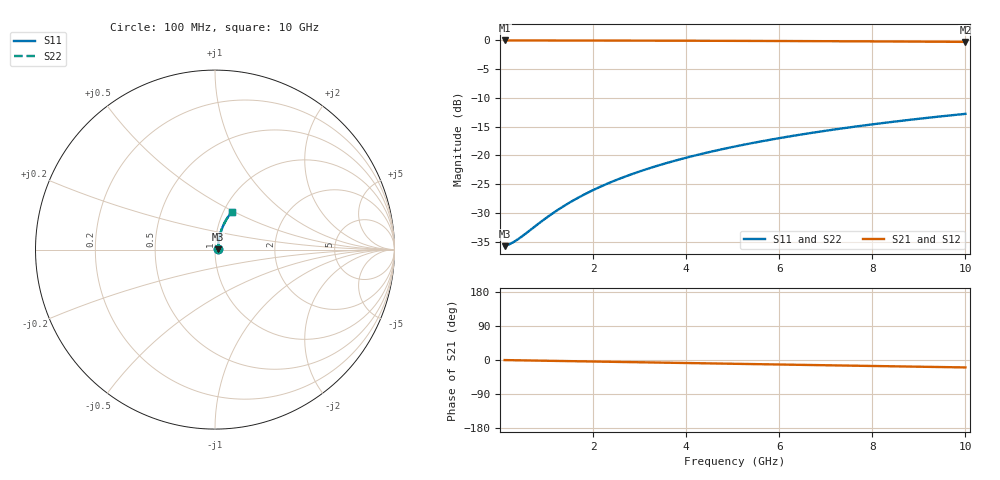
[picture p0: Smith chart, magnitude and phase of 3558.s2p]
# Hz S RI R 50.00
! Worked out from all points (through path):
!   100 points, 100 MHz to 10 GHz, reference 50 ohm
!   highest |S21| = -0.14 dB at 100 MHz (marker M1); lowest = -0.4 dB at 10 GHz (marker M2)
!   group delay of S21, straight-line fit = 5.45 ps
!   lowest |S11| = -35.7 dB at 100 MHz (marker M3), VSWR 1.03, Z = 51.7 + j0.239 ohm
!   |S11| at or under -10 dB: start of sweep to end of sweep
!   |S22| runs from -35.7 to -12.8 dB; largest |S21 - S12| = 0
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1e8  0.0163 0.00231  0.9837 -0.00342  0.9837 -0.00342  0.0163 0.00231
2e8  0.0164 0.00462  0.9835 -0.00685  0.9835 -0.00685  0.0164 0.00462
3e8  0.0166 0.00693  0.9834 -0.0103  0.9834 -0.0103  0.0166 0.00693
5e8  0.0168 0.0115  0.9832 -0.0171  0.9832 -0.0171  0.0168 0.0115
9e8  0.0174 0.0208  0.9825 -0.0308  0.9825 -0.0308  0.0174 0.0208
1.2e9  0.018 0.0276  0.9819 -0.041  0.9819 -0.041  0.018 0.0276
1.5e9  0.0187 0.0345  0.9811 -0.0512  0.9811 -0.0512  0.0187 0.0345
1.8e9  0.0196 0.0414  0.9802 -0.0614  0.9802 -0.0614  0.0196 0.0414
2.1e9  0.0206 0.0482  0.9791 -0.0716  0.9791 -0.0716  0.0206 0.0482
2.5e9  0.0221 0.0573  0.9774 -0.0851  0.9774 -0.0851  0.0221 0.0573
2.9e9  0.0239 0.0663  0.9755 -0.0986  0.9755 -0.0986  0.0239 0.0663
3.4e9  0.0265 0.0775  0.9727 -0.1154  0.9727 -0.1154  0.0265 0.0775
3.8e9  0.0288 0.0863  0.9702 -0.1287  0.9702 -0.1287  0.0288 0.0863
4.2e9  0.0314 0.0951  0.9675 -0.142  0.9675 -0.142  0.0314 0.0951
4.6e9  0.0342 0.1038  0.9644 -0.1551  0.9644 -0.1551  0.0342 0.1038
5.1e9  0.038 0.1145  0.9603 -0.1714  0.9603 -0.1714  0.038 0.1145
5.9e9  0.0449 0.1313  0.9529 -0.1972  0.9529 -0.1972  0.0449 0.1313
6.7e9  0.0526 0.1477  0.9445 -0.2225  0.9445 -0.2225  0.0526 0.1477
7.5e9  0.0612 0.1635  0.9352 -0.2473  0.9352 -0.2473  0.0612 0.1635
8.4e9  0.0717 0.1806  0.9237 -0.2745  0.9237 -0.2745  0.0717 0.1806
9.2e9  0.0819 0.1951  0.9127 -0.298  0.9127 -0.298  0.0819 0.1951
1e10  0.0928 0.2089  0.9008 -0.3209  0.9008 -0.3209  0.0928 0.2089
